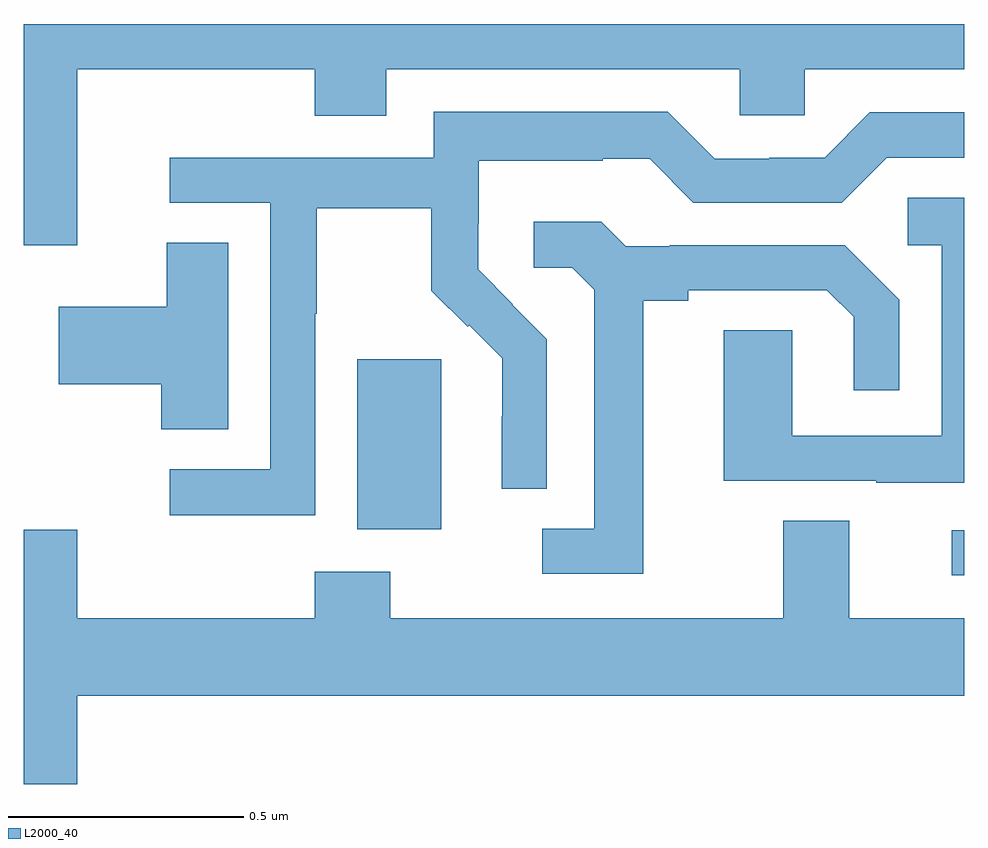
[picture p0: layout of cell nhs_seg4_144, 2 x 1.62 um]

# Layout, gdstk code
import gdstk
lib = gdstk.Library(unit=1e-6, precision=1e-09)
def R(c, l, rs):  # rectangles x0, y0, x1, y1
    for r in rs: c.add(gdstk.rectangle(r[:2], r[2:], *l))
def P(c, l, *ps):  # polygons
    for p in ps: c.add(gdstk.Polygon(p, *l))
L2000_40 = (2000, 40)

nhs_seg4_144 = lib.new_cell('nhs_seg4_144')
R(nhs_seg4_144, L2000_40, [(113.973,811.728,114,811.824), (112.709,811.826,112.888,812.187)])
P(nhs_seg4_144, L2000_40, [(112.114,812.804),(112.619,812.804),(112.619,812.705),(112.771,812.705),(112.771,812.804),(113.523,812.804),(113.523,812.706),(113.661,812.706),(113.661,812.804),(114,812.804),(114,812.9),(112,812.9),(112,812.43),(112.114,812.43)],
  [(112.62,812.284),(112.623,812.284),(112.623,812.508),(112.867,812.508),(112.867,812.333),(112.944,812.256),(112.947,812.259),(113.018,812.189),(113.018,812.066),(113.016,812.066),(113.016,811.912),(113.112,811.912),(113.112,812.23),(113.039,812.303),(113.04,812.304),(112.966,812.378),(112.966,812.475),(112.968,812.475),(112.968,812.609),(113.231,812.609),(113.231,812.613),(113.331,812.613),(113.424,812.52),(113.739,812.52),(113.835,812.616),(114,812.616),(114,812.712),(113.799,812.712),(113.703,812.616),(113.585,812.616),(113.585,812.613),(113.469,812.613),(113.369,812.713),(112.872,812.713),(112.872,812.616),(112.311,812.616),(112.311,812.52),(112.524,812.52),(112.524,811.953),(112.311,811.953),(112.311,811.855),(112.62,811.855)],
  [(114,812.531),(113.88,812.531),(113.88,812.43),(113.952,812.43),(113.952,812.025),(113.634,812.025),(113.634,812.249),(113.489,812.249),(113.489,811.929),(113.813,811.929),(113.813,811.925),(114,811.925)],
  [(113.317,812.312),(113.413,812.312),(113.413,812.334),(113.708,812.334),(113.765,812.277),(113.765,812.121),(113.862,812.121),(113.862,812.314),(113.746,812.43),(113.374,812.43),(113.374,812.427),(113.28,812.427),(113.228,812.479),(113.085,812.479),(113.085,812.382),(113.166,812.382),(113.213,812.335),(113.213,811.827),(113.103,811.827),(113.103,811.731),(113.317,811.731)],
  [(112.435,812.435),(112.304,812.435),(112.304,812.299),(112.074,812.299),(112.074,812.134),(112.292,812.134),(112.292,812.038),(112.435,812.038)],
  [(112.114,811.472),(114,811.472),(114,811.636),(113.755,811.636),(113.755,811.844),(113.615,811.844),(113.615,811.636),(112.779,811.636),(112.779,811.735),(112.619,811.735),(112.619,811.636),(112.114,811.636),(112.114,811.825),(112,811.825),(112,811.284),(112.114,811.284)])

lib.write_gds('nhs_seg4_144.gds')
